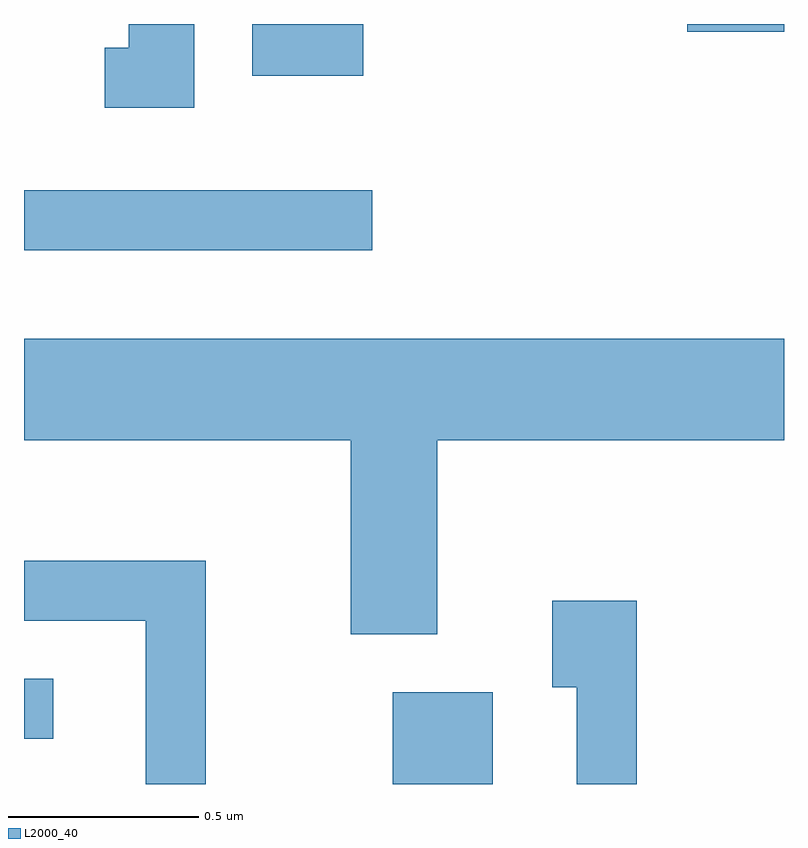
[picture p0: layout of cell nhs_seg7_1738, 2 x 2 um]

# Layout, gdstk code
import gdstk
lib = gdstk.Library(unit=1e-6, precision=1e-09)
def R(c, l, rs):  # rectangles x0, y0, x1, y1
    for r in rs: c.add(gdstk.rectangle(r[:2], r[2:], *l))
def P(c, l, *ps):  # polygons
    for p in ps: c.add(gdstk.Polygon(p, *l))
L2000_40 = (2000, 40)

nhs_seg7_1738 = lib.new_cell('nhs_seg7_1738')
R(nhs_seg7_1738, L2000_40, [(198.581,1762.252,198.844,1762.494), (197.611,1762.371,197.688,1762.529), (197.611,1763.656,198.528,1763.814), (198.211,1764.116,198.504,1764.252), (199.356,1764.231,199.611,1764.252)])
P(nhs_seg7_1738, L2000_40, [(198.059,1764.252),(197.886,1764.252),(197.886,1764.189),(197.823,1764.189),(197.823,1764.031),(198.059,1764.031)],
  [(198.699,1763.156),(199.611,1763.156),(199.611,1763.424),(197.611,1763.424),(197.611,1763.156),(198.471,1763.156),(198.471,1762.646),(198.699,1762.646)],
  [(198.089,1762.839),(197.611,1762.839),(197.611,1762.681),(197.931,1762.681),(197.931,1762.252),(198.089,1762.252)],
  [(199.224,1762.734),(199.001,1762.734),(199.001,1762.506),(199.066,1762.506),(199.066,1762.252),(199.224,1762.252)])

lib.write_gds('nhs_seg7_1738.gds')
